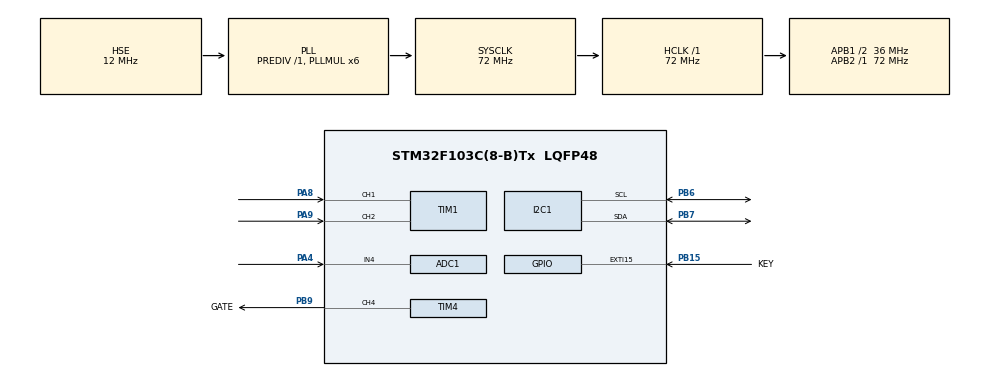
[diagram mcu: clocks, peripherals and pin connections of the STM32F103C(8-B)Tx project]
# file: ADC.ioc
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ADC1.Channel-0\#ChannelRegularConversion=ADC_CHANNEL_4
ADC1.ContinuousConvMode=ENABLE
ADC1.EnableInjectedConversion=DISABLE
ADC1.InjNumberOfConversion=1
ADC1.NbrOfConversion=1
ADC1.NbrOfConversionFlag=1
ADC1.Rank-0\#ChannelRegularConversion=1
ADC1.SamplingTime-0\#ChannelRegularConversion=ADC_SAMPLETIME_239CYCLES_5
ADC1.master=1
Dma.ADC1.2.Direction=DMA_PERIPH_TO_MEMORY
Dma.ADC1.2.Instance=DMA1_Channel1
Dma.ADC1.2.MemDataAlignment=DMA_MDATAALIGN_HALFWORD
Dma.ADC1.2.MemInc=DMA_MINC_ENABLE
Dma.ADC1.2.Mode=DMA_CIRCULAR
Dma.ADC1.2.PeriphDataAlignment=DMA_PDATAALIGN_HALFWORD
Dma.ADC1.2.PeriphInc=DMA_PINC_DISABLE
Dma.ADC1.2.Priority=DMA_PRIORITY_LOW
Dma.I2C1_RX.0.Direction=DMA_PERIPH_TO_MEMORY
Dma.I2C1_RX.0.Instance=DMA1_Channel7
Dma.I2C1_RX.0.MemDataAlignment=DMA_MDATAALIGN_BYTE
Dma.I2C1_RX.0.MemInc=DMA_MINC_ENABLE
Dma.I2C1_RX.0.Mode=DMA_NORMAL
Dma.I2C1_RX.0.PeriphDataAlignment=DMA_PDATAALIGN_BYTE
Dma.I2C1_RX.0.PeriphInc=DMA_PINC_DISABLE
Dma.I2C1_RX.0.Priority=DMA_PRIORITY_LOW
Dma.I2C1_TX.1.Direction=DMA_MEMORY_TO_PERIPH
Dma.I2C1_TX.1.Instance=DMA1_Channel6
Dma.I2C1_TX.1.MemDataAlignment=DMA_MDATAALIGN_BYTE
Dma.I2C1_TX.1.MemInc=DMA_MINC_ENABLE
Dma.I2C1_TX.1.Mode=DMA_NORMAL
Dma.I2C1_TX.1.PeriphDataAlignment=DMA_PDATAALIGN_BYTE
Dma.I2C1_TX.1.PeriphInc=DMA_PINC_DISABLE
Dma.I2C1_TX.1.Priority=DMA_PRIORITY_LOW
Dma.Request0=I2C1_RX
Dma.Request1=I2C1_TX
Dma.Request2=ADC1
I2C1.I2C_Mode=I2C_Fast
Mcu.Family=STM32F1
Mcu.Name=STM32F103C(8-B)Tx
Mcu.Package=LQFP48
NVIC.ADC1_2_IRQn=true\:0\:0\:true\:false\:true\:true\:true\:true
NVIC.DMA1_Channel1_IRQn=true\:0\:0\:false\:false\:true\:false\:true\:true
NVIC.DMA1_Channel6_IRQn=true\:0\:0\:false\:false\:true\:false\:true\:true
NVIC.DMA1_Channel7_IRQn=true\:0\:0\:false\:false\:true\:false\:true\:true
NVIC.EXTI15_10_IRQn=true\:0\:0\:true\:false\:true\:true\:true\:true
NVIC.I2C1_ER_IRQn=true\:0\:0\:true\:false\:true\:true\:true\:true
NVIC.I2C1_EV_IRQn=true\:0\:0\:true\:false\:true\:true\:true\:true
NVIC.PriorityGroup=NVIC_PRIORITYGROUP_4
NVIC.RCC_IRQn=true\:0\:0\:true\:false\:true\:true\:false\:true
NVIC.TIM2_IRQn=true\:2\:0\:true\:false\:true\:true\:true\:true
NVIC.TIM3_IRQn=true\:0\:0\:false\:false\:true\:true\:true\:true
PA13.Mode=Serial_Wire
PA13.Signal=SYS_JTMS-SWDIO
PA14.Mode=Serial_Wire
PA14.Signal=SYS_JTCK-SWCLK
PA4.Signal=ADCx_IN4
PA8.Signal=S_TIM1_CH1
PA9.Signal=S_TIM1_CH2
PB15.GPIO_Label=KEY
PB15.GPIO_ModeDefaultEXTI=GPIO_MODE_IT_FALLING
PB15.GPIO_PuPd=GPIO_PULLUP
PB15.Signal=GPXTI15
PB6.Mode=I2C
PB6.Signal=I2C1_SCL
PB7.Mode=I2C
PB7.Signal=I2C1_SDA
PB9.GPIO_Label=GATE
PB9.Signal=S_TIM4_CH4
PD0-OSC_IN.Mode=HSE-External-Oscillator
PD0-OSC_IN.Signal=RCC_OSC_IN
PD1-OSC_OUT.Mode=HSE-External-Oscillator
PD1-OSC_OUT.Signal=RCC_OSC_OUT
ProjectManager.HeapSize=0x200
ProjectManager.StackSize=0x400
ProjectManager.TargetToolchain=CMake
RCC.ADCPresc=RCC_ADCPCLK2_DIV6
RCC.AHBFreq_Value=72000000
RCC.APB1CLKDivider=RCC_HCLK_DIV2
RCC.APB1Freq_Value=36000000
RCC.APB1TimFreq_Value=72000000
RCC.APB2Freq_Value=72000000
RCC.APB2TimFreq_Value=72000000
RCC.EnbaleCSS=true
RCC.HCLKFreq_Value=72000000
RCC.HSE_VALUE=12000000
RCC.PLLMUL=RCC_PLL_MUL6
RCC.PLLSourceVirtual=RCC_PLLSOURCE_HSE
RCC.SYSCLKFreq_VALUE=72000000
RCC.SYSCLKSource=RCC_SYSCLKSOURCE_PLLCLK
RCC.USBFreq_Value=72000000
SH.ADCx_IN4.0=ADC1_IN4,IN4
SH.S_TIM1_CH1.0=TIM1_CH1,Encoder_Interface
SH.S_TIM1_CH2.0=TIM1_CH2,Encoder_Interface
SH.S_TIM4_CH4.0=TIM4_CH4,PWM Generation4 CH4
TIM1.AutoReloadPreload=TIM_AUTORELOAD_PRELOAD_DISABLE
TIM1.IC1Filter=15
TIM1.IC1Polarity=TIM_ICPOLARITY_FALLING
TIM1.IC2Filter=15
TIM1.IC2Polarity=TIM_ICPOLARITY_FALLING
TIM2.AutoReloadPreload=TIM_AUTORELOAD_PRELOAD_ENABLE
TIM2.Period=7200-1
TIM2.Prescaler=0
TIM3.AutoReloadPreload=TIM_AUTORELOAD_PRELOAD_ENABLE
TIM3.Period=2000-1
TIM3.Prescaler=7200-1
TIM4.Channel-PWM\ Generation4\ CH4=TIM_CHANNEL_4
TIM4.Period=1440
TIM4.Prescaler=0
VP_TIM2_VS_ClockSourceINT.Mode=Internal
VP_TIM3_VS_ClockSourceINT.Mode=Internal
VP_TIM4_VS_ClockSourceINT.Mode=Internal
board=custom

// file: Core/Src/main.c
/* USER CODE BEGIN Header */
/**
 ******************************************************************************
 * @file           : main.c
 * @brief          : Main program body
 ******************************************************************************
 * @attention
 *
 * Copyright (c) 2026 STMicroelectronics.
 * All rights reserved.
 *
 * This software is licensed under terms that can be found in the LICENSE file
 * in the root directory of this software component.
 * If no LICENSE file comes with this software, it is provided AS-IS.
 *
 ******************************************************************************
 */
/* USER CODE END Header */
#include "main.h"
#include "adc.h"
#include "dma.h"
#include "gpio.h"
#include "i2c.h"
#include "tim.h"

/* USER CODE BEGIN Includes */
#include "INA219.h"
#include "font.h"
#include "oled.h"
#include "stdlib.h"
#include <math.h>
#include <stdint.h>
#include <stdio.h>
#include <string.h>

/* USER CODE END Includes */

/* USER CODE BEGIN PD */
#define DUTY_MAX 0.7
#define DUTY_MIN 0.0
#define UMIN 5.0
#define UMAX 16.0
#define IMIN 0.0
#define IMAX 0.4
#define XZMAX 10.0
#define DELTA_U 0.01 // 误差
#define DELTA_I -0.006
#define vkp 0.5
#define vki 4
#define akp 3
#define aki 500
#define I_HYST 0.01f
#define U_HYST 0.05f
#define CURRENT_LPF 0.2f

/* USER CODE END PD */

/* USER CODE BEGIN PV */
volatile float targetv = 10.0, targeta = 0.1;
volatile float voltage = 0.0;
volatile float current = 0.0;
volatile int key = 0;
volatile int clcflag = 0;
volatile int showoled = 0;
float vP = 0, vI = 0, vintegral = 0;
float aP = 0, aI = 0, aintegral = 0;
float vduty = 0.02, aduty = 0.0;
float targeta1, targetv1, xz1;
float b = 0.0;
float xz = 0;
float INA219_voltage = 0, INA219_current = 0;
float current_f = 0.0f;
float voltage_f = 0.0f;
char V[20], A[20], MODE[20], XZ[20];
char a0[3] = {'='}, a1[3] = {'<'};
int d = 0;
int page = 0;
int counter = 0;
int inited = 0;
int mode = 0;
int ready = 0;
int i = 0;
int limit_active = 0;
/* USER CODE END PV */

void SystemClock_Config(void);

/* USER CODE BEGIN 0 */

void HAL_GPIO_EXTI_Callback(uint16_t GPIO_Pin) {
  static uint32_t last_tick = 0;
  uint32_t now = HAL_GetTick();
  if (now - last_tick > 20) // 20ms 内只算一次，消抖
  {
    last_tick = now;
    key++;
  }
}

void HAL_TIM_PeriodElapsedCallback(TIM_HandleTypeDef *htim) {
  if (htim == &htim3) {
    showoled = 1;
    // TIM3 显示标志
  }
  if (htim == &htim2) {
    clcflag = 1;
    // TIM2 控制标志
  }
}
/* USER CODE END 0 */

int main(void) {

  /* MCU Configuration--------------------------------------------------------*/

  /* Reset of all peripherals, Initializes the Flash interface and the Systick.
   */
  HAL_Init();

  /* Configure the system clock */
  SystemClock_Config();

  /* Initialize all configured peripherals */
  MX_GPIO_Init();
  MX_DMA_Init();
  MX_ADC1_Init();
  MX_I2C1_Init();
  MX_TIM4_Init();
  MX_TIM1_Init();
  MX_TIM2_Init();
  MX_TIM3_Init();
  /* USER CODE BEGIN 2 */
  OLED_Init();
  OLED_NewFrame();
  OLED_DrawImage(0, 0, &MeguminImg, OLED_COLOR_NORMAL);
  OLED_PrintString(64, 8, "可调电源", &font16x16, OLED_COLOR_NORMAL);
  OLED_PrintString(64, 24, "0-0.4A", &font16x16, OLED_COLOR_NORMAL);
  OLED_PrintString(64, 40, "5-16V", &font16x16, OLED_COLOR_NORMAL); // 启动画面
  OLED_ShowFrame();

  HAL_TIM_PWM_Start(&htim4, TIM_CHANNEL_4);
  HAL_TIM_Encoder_Start(&htim1, TIM_CHANNEL_ALL);
  HAL_TIM_Base_Start_IT(&htim2);
  HAL_TIM_Base_Start_IT(&htim3); // stm32各种初始化
  __HAL_TIM_SET_COMPARE(&htim4, TIM_CHANNEL_4,
                        (uint32_t)(__HAL_TIM_GET_AUTORELOAD(&htim4) * b));

  int ina219_err = INA219_Init();
  HAL_Delay(10);
  /* USER CODE END 2 */

  /* Infinite loop */
  /* USER CODE BEGIN WHILE */
  while (1) {
    if (ina219_err == 1) {
      OLED_NewFrame();
      OLED_PrintString(0, 24, "INA219 Init Failed", &font16x16,
                       OLED_COLOR_NORMAL);
      OLED_ShowFrame();
      ina219_err = INA219_Init();
      continue; // INA219初始化失败，跳过本循环,且重新初始化
    }

    INA219_voltage = INA219_ReadBusVoltage() / 1000.0f;
    INA219_current = (INA219_ReadCurrent() * 0.4 / 32768); // 电流电压计算

    if (INA219_voltage == 65535 / 1000.0f ||
        INA219_current == 65535 / 1000.0f) {
      OLED_NewFrame();
      OLED_PrintString(0, 0, "ERR", &font16x16, OLED_COLOR_NORMAL);
      OLED_ShowFrame();
      i++;
      if (i > 1000) {
        i = 0;
        ina219_err = INA219_Init();
      }
      continue; // 读取失败，超过10次重新尝试初始化，跳过本循环
    }
    current = INA219_current + DELTA_I;
    voltage = INA219_voltage - current * xz +
              DELTA_U; // 电压电流赋值，线阻压降和INA219的误差补偿

    static uint32_t stable_start = 0;
    if (fabsf(voltage - targetv) < 0.02) {
      if (stable_start == 0) {
        stable_start = HAL_GetTick();
      } else if (HAL_GetTick() - stable_start >= 100) {
        ready = 1;
      }
    } else {
      stable_start = 0;
    }

    if (clcflag == 1) {
      clcflag = 0;

      const float dt = 0.001f;

      vP = vkp * (targetv - voltage);
      aP = akp * (targeta - current);

      // 迟滞判断
      if (mode == 0) { // 恒压限流
        if (!limit_active) {
          if (current > targeta + I_HYST)
            limit_active = 1;
        } else {
          if (current < targeta - I_HYST)
            limit_active = 0;
        }
      } else { // 恒流限压
        if (!limit_active) {
          if (voltage > targetv + U_HYST)
            limit_active = 1;
        } else {
          if (voltage < targetv - U_HYST)
            limit_active = 0;
        }
      }

      if (mode == 0) {
        if (!limit_active) {
          // 电压环工作，电流环跟踪 b
          vintegral += (targetv - voltage) * dt;

          float vint_max = (DUTY_MAX - vP) / vki;
          float vint_min = (DUTY_MIN - vP) / vki;
          if (vintegral > vint_max)
            vintegral = vint_max;
          if (vintegral < vint_min)
            vintegral = vint_min;

          vduty = vP + vki * vintegral;
          b = vduty;

          // 电流环无扰跟踪
          aintegral = (b - aP) / aki;
          aduty = b;
        } else {
          // 电流环限流，电压环跟踪 b
          aintegral += (targeta - current) * dt;

          float aint_max = (DUTY_MAX - aP) / aki;
          float aint_min = (DUTY_MIN - aP) / aki;
          if (aintegral > aint_max)
            aintegral = aint_max;
          if (aintegral < aint_min)
            aintegral = aint_min;

          aduty = aP + aki * aintegral;
          b = aduty;

          // 电压环无扰跟踪
          vintegral = (b - vP) / vki;
          vduty = b;
        }
      } else { // mode == 1 恒流限压
        if (!limit_active) {
          // 电流环工作，电压环跟踪 b
          aintegral += (targeta - current) * dt;

          float aint_max = (DUTY_MAX - aP) / aki;
          float aint_min = (DUTY_MIN - aP) / aki;
          if (aintegral > aint_max)
            aintegral = aint_max;
          if (aintegral < aint_min)
            aintegral = aint_min;

          aduty = aP + aki * aintegral;
          b = aduty;

          vintegral = (b - vP) / vki;
          vduty = b;
        } else {
          // 电压环限压，电流环跟踪 b
          vintegral += (targetv - voltage) * dt;

          float vint_max = (DUTY_MAX - vP) / vki;
          float vint_min = (DUTY_MIN - vP) / vki;
          if (vintegral > vint_max)
            vintegral = vint_max;
          if (vintegral < vint_min)
            vintegral = vint_min;

          vduty = vP + vki * vintegral;
          b = vduty;

          aintegral = (b - aP) / aki;
          aduty = b;
        }
      }

      if (b > DUTY_MAX)
        b = DUTY_MAX;
      if (b < DUTY_MIN)
        b = DUTY_MIN;
    }

    __HAL_TIM_SET_COMPARE(&htim4, TIM_CHANNEL_4,
                          (uint32_t)(__HAL_TIM_GET_AUTORELOAD(&htim4) * b));

    counter = (__HAL_TIM_GET_COUNTER(&htim1) / 2); // 编码器计数
    if (key == 0)
      page = ((counter % 4) + 4) % 4; // 第几页 防负数

    if (showoled == 1 && ready == 1) // oled显示及调整模式
    {
      showoled = 0;
      OLED_NewFrame();

      if (key == 1) // 调整模式及UI（非阻塞）
      {
        if (inited == 0) {
          TIM1->CNT = 32768; // 初始化
          inited++;
          counter = (__HAL_TIM_GET_COUNTER(&htim1) / 2);
          targeta1 = targeta;
          targetv1 = targetv;
          xz1 = xz;
        }
        counter = (__HAL_TIM_GET_COUNTER(&htim1) / 2);
        d = (16384 - counter);
        switch (page) {
        case 0:
          targetv = targetv1 + d * 0.05; // V
          if (targetv > UMAX)
            targetv = UMAX;
          if (targetv < UMIN)
            targetv = UMIN;
          break;
        case 1:
          targeta = targeta1 + d * 0.01; // A
          if (targeta > IMAX)
            targeta = IMAX;
          if (targeta < IMIN)
            targeta = IMIN;
          break;
        case 2:
          xz = xz1 + d * 0.1; // 线阻
          if (xz < 0)
            xz = 0;
          if (xz > XZMAX)
            xz = XZMAX;
          break;
        case 3:
          vduty = b;
          aduty = b;
          if (mode == 0) {
            mode = 1;
            aintegral = (b - aP) / aki; // 积分过渡换算
            strcpy(a0, "<");
            strcpy(a1, "=");
          } else {
            mode = 0;
            vintegral = (b - vP) / vki;
            strcpy(a0, "=");
            strcpy(a1, "<");
          }
          inited = 0;
          key = 2;
          break;
        }
      }
      if (key >= 2) {
        TIM1->CNT = 0;
        key = 0;
        inited = 0; // 退出调整模式
      }
      sprintf(V, "电压:%.2f%s%.2f", voltage, a0, targetv);
      OLED_PrintString(0, 0, V, &font16x16, page == 0);
      if (current < 0)
        current = 0;
      sprintf(A, "电流:%.2f%s%.2f", current, a1, targeta);
      OLED_PrintString(0, 16, A, &font16x16, page == 1);
      sprintf(XZ, "线阻Ω:%.1f", xz);
      OLED_PrintString(0, 32, XZ, &font16x16, page == 2);
      if (mode == 0) {
        sprintf(MODE, "模式:恒压限流");
      } else
        sprintf(MODE, "模式:恒流限压");
      OLED_PrintString(0, 48, MODE, &font16x16, page == 3);
      OLED_ShowFrame(); // OLED显示
    }

    /* USER CODE END WHILE */

  }
}

void SystemClock_Config(void) {
  RCC_OscInitTypeDef RCC_OscInitStruct = {0};
  RCC_ClkInitTypeDef RCC_ClkInitStruct = {0};
  RCC_PeriphCLKInitTypeDef PeriphClkInit = {0};

  /** Initializes the RCC Oscillators according to the specified parameters
   * in the RCC_OscInitTypeDef structure.
   */
  RCC_OscInitStruct.OscillatorType = RCC_OSCILLATORTYPE_HSE;
  RCC_OscInitStruct.HSEState = RCC_HSE_ON;
  RCC_OscInitStruct.HSEPredivValue = RCC_HSE_PREDIV_DIV1;
  RCC_OscInitStruct.HSIState = RCC_HSI_ON;
  RCC_OscInitStruct.PLL.PLLState = RCC_PLL_ON;
  RCC_OscInitStruct.PLL.PLLSource = RCC_PLLSOURCE_HSE;
  RCC_OscInitStruct.PLL.PLLMUL = RCC_PLL_MUL6;
  if (HAL_RCC_OscConfig(&RCC_OscInitStruct) != HAL_OK) {
    Error_Handler();
  }

  /** Initializes the CPU, AHB and APB buses clocks
   */
  RCC_ClkInitStruct.ClockType = RCC_CLOCKTYPE_HCLK | RCC_CLOCKTYPE_SYSCLK |
                                RCC_CLOCKTYPE_PCLK1 | RCC_CLOCKTYPE_PCLK2;
  RCC_ClkInitStruct.SYSCLKSource = RCC_SYSCLKSOURCE_PLLCLK;
  RCC_ClkInitStruct.AHBCLKDivider = RCC_SYSCLK_DIV1;
  RCC_ClkInitStruct.APB1CLKDivider = RCC_HCLK_DIV2;
  RCC_ClkInitStruct.APB2CLKDivider = RCC_HCLK_DIV1;

  if (HAL_RCC_ClockConfig(&RCC_ClkInitStruct, FLASH_LATENCY_2) != HAL_OK) {
    Error_Handler();
  }
  PeriphClkInit.PeriphClockSelection = RCC_PERIPHCLK_ADC;
  PeriphClkInit.AdcClockSelection = RCC_ADCPCLK2_DIV6;
  if (HAL_RCCEx_PeriphCLKConfig(&PeriphClkInit) != HAL_OK) {
    Error_Handler();
  }

  /** Enables the Clock Security System
   */
  HAL_RCC_EnableCSS();
}

void Error_Handler(void) {
  __disable_irq();
  while (1) {
  }
}
#ifdef USE_FULL_ASSERT
/**
 * @brief  Reports the name of the source file and the source line number
 *         where the assert_param error has occurred.
 * @param  file: pointer to the source file name
 * @param  line: assert_param error line source number
 * @retval None
 */
void assert_failed(uint8_t *file, uint32_t line) {
  /* USER CODE BEGIN 6 */
  /* User can add his own implementation to report the file name and line
     number, ex: printf("Wrong parameters value: file %s on line %d\r\n", file,
     line) */
  /* USER CODE END 6 */
}
#endif /* USE_FULL_ASSERT */
